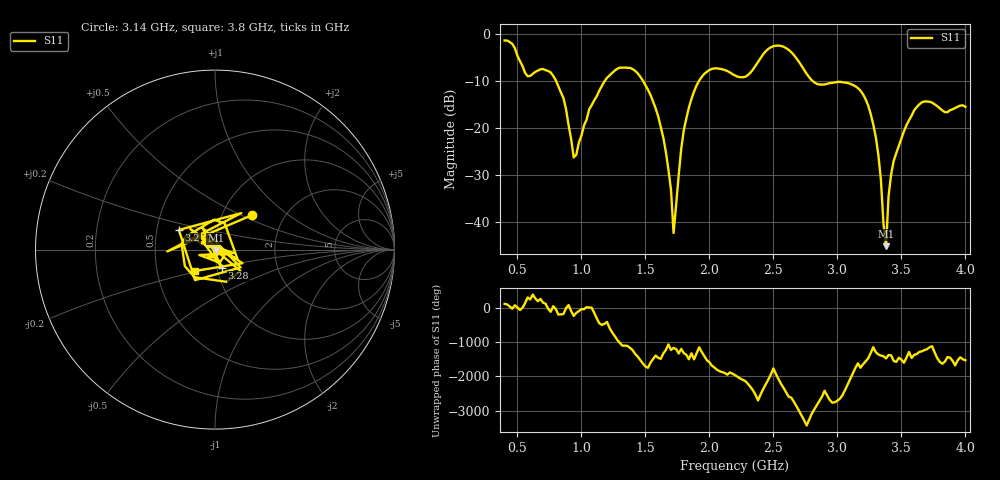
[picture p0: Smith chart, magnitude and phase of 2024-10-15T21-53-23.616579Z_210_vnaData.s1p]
! Created with skrf (http://scikit-rf.org).
# Hz S RI R 50.0
!freq ReS11 ImS11
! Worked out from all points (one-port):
!   181 points, 400 MHz to 4 GHz, reference 50 ohm
!   lowest |S11| = -45.3 dB at 3.38 GHz (marker M1), VSWR 1.01, Z = 50.5 - j0.31 ohm
!   |S11| at or under -10 dB: 802.8 MHz to 1.182 GHz (378.8 MHz wide, 38.2 % of centre); 1.483 GHz to 1.918 GHz (435.5 MHz wide, 25.6 % of centre); 2.808 GHz to end of sweep
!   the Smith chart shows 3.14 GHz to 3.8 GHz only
!   S11 on the Smith chart (normalised r, x): 3.14 GHz: 1.37, +0.57; 3.2 GHz: 0.65, +0.15; 3.28 GHz: 1.06, -0.22; 3.8 GHz: 0.78, -0.19
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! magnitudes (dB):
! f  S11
! 400 MHz  -1.3
! 580 MHz  -9.0
! 860 MHz  -13.6
! 940 MHz  -26.3
! 1.06 GHz  -16.1
! 1.3 GHz  -7.1
! 1.44 GHz  -8.4
! 1.58 GHz  -15.8
! 1.68 GHz  -28.9
! 1.72 GHz  -42.4
! 1.76 GHz  -30.1
! 1.82 GHz  -18.0
! 1.92 GHz  -9.9
! 2.2 GHz  -8.8
! 2.5 GHz  -2.5
! 2.66 GHz  -4.4
! 2.84 GHz  -10.6
! 3.1 GHz  -10.6
! 3.14 GHz  -11.1
! 3.2 GHz  -12.8
! 3.28 GHz  -19.2
! 3.32 GHz  -25.8
! 3.38 GHz  -45.3
! 3.4 GHz  -34.5
! 3.42 GHz  -29.9
! 3.56 GHz  -18.3
! 3.8 GHz  -15.8
! 4 GHz  -15.5
